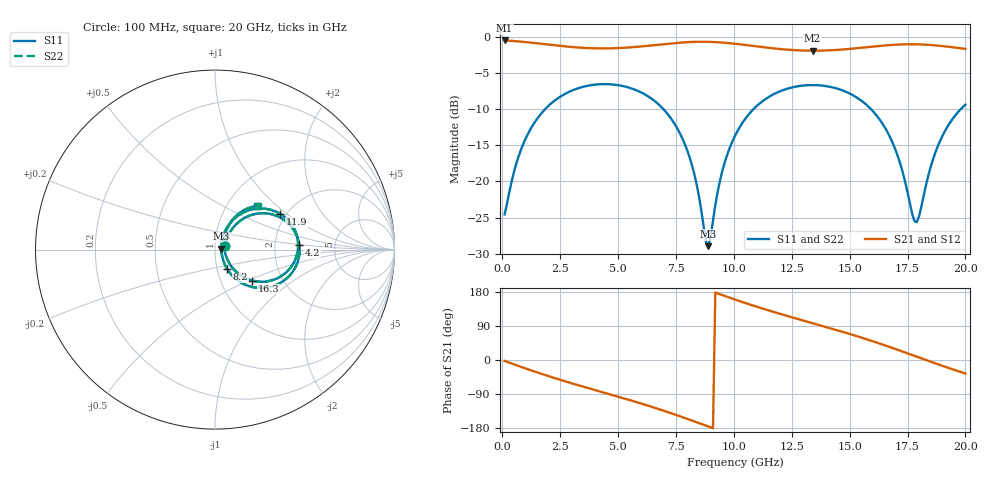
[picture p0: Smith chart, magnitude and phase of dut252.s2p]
! Touchstone file exported from HFSS 2026.1.0
!  File:  C:/ffzhzh/LocalFiles/Ansys_Project_Files/temp_train_TSV_RDL_252_1783068093_18316.aedt
!  Generated:  04:54:47 PM Jul  3, 2026
!  Design:  TSV_RDL
!  Project:  temp_train_TSV_RDL_252_1783068093_18316
! Variables:
!  h_bsmrdl = 4.21um
!  h_ox = 20um
!  h_rdl = 5um
!  h_sub = 51.96um
!  h_tmrdl = 2.24um
!  h_tsv = 51.96um
!  h_via = 3um
!  l_bsmrdl = 907.55um
!  l_sub = 6582.67um
!  l_tmrdl = 845.79um
!  m_sub = 200um
!  pitch = 30.17um
!  r_tsv = 12.16um
!  s_tmrdl = 10um
!  w_bsmrdl = 11.64um
!  w_sub = 500um
!  w_tmrdl = 13.98um
!  x_tsv_center1 = 852.78um
!  x_tsv_center2 = 1771.97um
!  x_tsv_center3 = 2631.74um
!  x_tsv_center4 = 3550.93um
!  x_tsv_center5 = 4410.7um
!  x_tsv_center6 = 5329.89um
# GHz S MA R 50.000000
! Terminal data exported
! Port[1] = TM_RDL1_1_T1
! Port[2] = TM_RDL5_1_T1
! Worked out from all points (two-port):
!   200 points, 100 MHz to 20 GHz, reference 50 ohm
!   highest |S21| = -0.50 dB at 100 MHz (marker M1); lowest = -1.9 dB at 13.4 GHz (marker M2)
!   |S21| within 3 dB of the highest: start of sweep to end of sweep
!   lowest |S11| = -28.9 dB at 8.9 GHz (marker M3), VSWR 1.07, Z = 53.7 + j0.52 ohm
!   |S11| at or under -10 dB: start of sweep to 1.85 GHz; 6.958 GHz to 10.85 GHz (3.889 GHz wide, 43.7 % of centre); 15.92 GHz to 19.8 GHz (3.876 GHz wide, 21.7 % of centre)
!   |S22| runs from -29.1 to -6.5 dB; largest |S21 - S12| = 1.5e-14
!   S11 on the Smith chart (normalised r, x): 100 MHz: 1.12, +0.04; 4.2 GHz: 2.76, +0.17; 8.2 GHz: 1.12, -0.25; 11.9 GHz: 1.87, +0.89; 16.3 GHz: 1.40, -0.52; 20 GHz: 1.38, +0.76
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0.1  0.05917 18.4  0.9444 -2.3  0.9444 -2.3  0.05917 18.4
! Gamma 0 0 0 0
! Port Impedance 50 0 50 0
0.6  0.1322 49.6  0.9332 -13.6  0.9332 -13.6  0.1322 49.6
1.3  0.2423 46.9  0.9102 -28.5  0.9102 -28.5  0.2423 46.9
2.3  0.3665 32.8  0.8732 -48.5  0.8732 -48.5  0.3665 32.8
3.5  0.452 14.0  0.8399 -70.5  0.8399 -70.5  0.452 14.0
4.2  0.4702 3.0  0.8323 -82.8  0.8323 -82.8  0.4703 3.0
5.6  0.4389 -19.5  0.8477 -107.5  0.8477 -107.5  0.439 -19.5
6.8  0.3355 -39.6  0.8849 -130.4  0.8849 -130.4  0.3356 -39.6
7.6  0.2263 -52.4  0.9101 -146.9  0.9101 -146.9  0.2263 -52.5
8.2  0.1283 -57.7  0.9223 -159.9  0.9223 -159.9  0.1282 -57.9
8.9  0.03571 7.8  0.9239 -175.4  0.9239 -175.4  0.03516 7.8
9.5  0.1178 61.3  0.9136 171.4  0.9136 171.4  0.1176 61.5
10.1  0.2146 57.0  0.8947 158.5  0.8947 158.5  0.2144 57.2
10.9  0.3226 44.8  0.863 142.3  0.863 142.3  0.3225 45.0
11.9  0.4144 28.6  0.8266 123.5  0.8266 123.5  0.4144 28.7
13.4  0.4643 5.0  0.8024 97.2  0.8024 97.2  0.4643 5.1
15  0.4061 -20.1  0.8256 68.8  0.8256 68.8  0.4061 -19.9
16.3  0.2677 -40.0  0.8659 43.4  0.8659 43.4  0.2679 -39.8
16.7  0.2095 -44.8  0.8767 35.0  0.8767 35.0  0.2097 -44.4
17.9  0.0523 13.3  0.8882 8.7  0.8882 8.7  0.05342 13.3
18.8  0.174 60.3  0.8705 -11.0  0.8705 -11.0  0.1744 60.0
20  0.3396 46.0  0.826 -35.6  0.826 -35.6  0.3399 45.8
